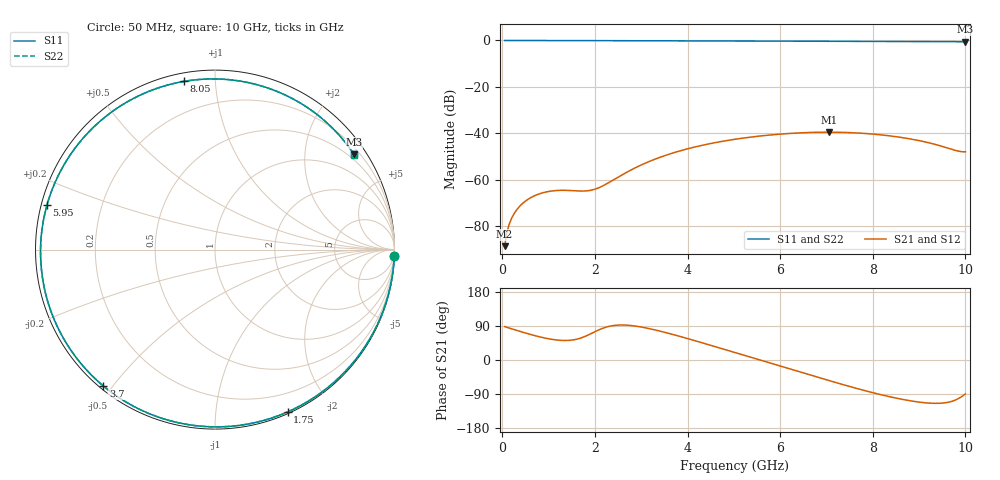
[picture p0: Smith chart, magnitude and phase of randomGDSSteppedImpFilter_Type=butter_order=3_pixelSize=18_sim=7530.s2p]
! freq	dB(S11)	phase(S11)	dB(S12)	phase(S12)
!  dB(S21)	phase(S21)	dB(S22)	phase(S22)
!S-par simulation data
#  GHz  S  DB  R 50
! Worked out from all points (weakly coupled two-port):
!   200 points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, 50 MHz to 10 GHz, reference 50 ohm
!   highest |S21| = -39.46 dB at 7.05 GHz (marker M1); lowest = -88.5 dB at 50 MHz (marker M2)
!   lowest |S11| = -0.6 dB at 10 GHz (marker M3), VSWR 31.47, Z = 18 + j160 ohm
!   |S11| at or under -10 dB: nowhere
!   |S22| runs from -0.6 to 0.0 dB; largest |S21 - S12| = 0
!   S11 on the Smith chart (normalised r, x): 50 MHz: 0, -58; 1.75 GHz: 0.02, -1.54; 3.7 GHz: 0.01, -0.47; 5.95 GHz: 0.02, +0.13; 8.05 GHz: 0.04, +0.83; 10 GHz: 0.36, +3.19
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0.05  -0.00 -2.0  -88.52 88.0  -88.52 88.0  -0.00 -2.0
0.15  -0.01 -5.9  -79.03 84.2  -79.03 84.2  -0.01 -5.9
0.25  -0.01 -9.8  -74.69 80.4  -74.69 80.4  -0.01 -9.8
0.4  -0.02 -15.6  -70.84 74.8  -70.84 74.8  -0.02 -15.6
0.7  -0.03 -27.1  -66.79 64.4  -66.79 64.4  -0.03 -27.1
1.15  -0.06 -44.1  -64.59 53.1  -64.59 53.1  -0.06 -44.1
1.75  -0.08 -65.9  -64.80 60.4  -64.80 60.4  -0.08 -65.9
2.05  -0.09 -76.3  -63.65 77.6  -63.65 77.6  -0.09 -76.4
2.55  -0.11 -93.2  -58.24 92.4  -58.24 92.4  -0.11 -93.2
3.4  -0.15 -120.2  -50.32 76.4  -50.32 76.4  -0.15 -120.2
3.7  -0.16 -129.3  -48.32 66.8  -48.32 66.8  -0.16 -129.3
4.4  -0.19 -150.0  -44.76 42.4  -44.76 42.4  -0.19 -150.0
5.05  -0.22 -168.8  -42.44 18.8  -42.44 18.8  -0.22 -168.8
5.95  -0.28 165.2  -40.39 -14.1  -40.39 -14.1  -0.28 165.1
6.7  -0.33 142.9  -39.56 -41.5  -39.56 -41.5  -0.33 142.8
7.05  -0.35 132.2  -39.46 -54.1  -39.46 -54.1  -0.35 132.2
7.55  -0.39 116.6  -39.69 -71.6  -39.69 -71.6  -0.39 116.5
8.05  -0.42 100.4  -40.37 -87.8  -40.37 -87.8  -0.42 100.3
8.35  -0.44 90.5  -41.01 -96.5  -41.01 -96.5  -0.44 90.4
8.75  -0.46 77.1  -42.17 -106.4  -42.17 -106.4  -0.46 77.0
9.15  -0.49 63.4  -43.74 -113.1  -43.74 -113.1  -0.49 63.4
10  -0.55 34.4  -47.91 -89.5  -47.91 -89.5  -0.55 34.3
